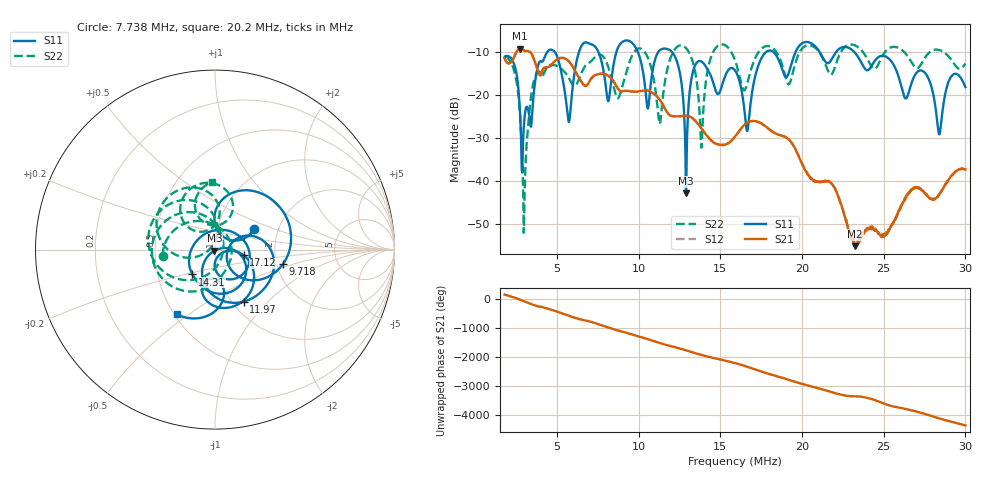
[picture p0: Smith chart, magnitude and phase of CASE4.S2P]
!Agilent Technologies,E5061B,MY49101568,A.02.00
!Date: Wed Mar 01 12:23:55 2023
!Data & Calibration Information:
!Freq	S11:SOLT2(OFF)	S21:SOLT2(OFF)	S12:SOLT2(OFF)	S22:SOLT2(OFF)
# Hz S dB R 50
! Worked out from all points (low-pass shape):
!   1155 points, 1.8 MHz to 30 MHz, reference 50 ohm
!   highest |S21| = -9.13 dB at 2.753 MHz (marker M1); lowest = -55.3 dB at 23.26 MHz (marker M2)
!   |S21| within 3 dB of the highest: 2.226 MHz to 3.644 MHz (1.417 MHz wide, 48.3 % of centre); 4.838 MHz to 5.746 MHz (908.8 kHz wide, 17.2 % of centre)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
!   lowest |S11| = -42.9 dB at 12.89 MHz (marker M3), VSWR 1.01, Z = 49.7 - j0.638 ohm
!   |S11| at or under -10 dB: start of sweep to 4.39 MHz; 12.07 MHz to 17.77 MHz (5.703 MHz wide, 38.2 % of centre); 23.22 MHz to end of sweep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
!   |S22| runs from -52.1 to -8.1 dB; largest |S21 - S12| = 0.0045
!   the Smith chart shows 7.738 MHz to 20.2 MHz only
!   S11 on the Smith chart (normalised r, x): 7.738 MHz: 1.50, +0.36; 9.718 MHz: 2.16, -0.41; 11.97 MHz: 1.12, -0.73; 14.31 MHz: 0.75, -0.21; 17.12 MHz: 1.38, -0.09; 20.2 MHz: 0.52, -0.45
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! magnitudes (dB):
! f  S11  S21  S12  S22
! 1.8 MHz  -11.1  -11.4  -11.3  -10.9
! 2.753 MHz  -24.8  -9.1  -9.1  -25.0
! 2.997 MHz  -26.2  -9.6  -9.6  -48.3
! 3.755 MHz  -14.7  -13.3  -13.4  -14.9
! 5.734 MHz  -26.3  -12.1  -12.1  -16.0
! 6.516 MHz  -8.4  -17.0  -16.9  -14.7
! 7.738 MHz  -12.2  -15.0  -14.9  -10.6
! 9.718 MHz  -8.2  -19.2  -19.2  -10.0
! 10.55 MHz  -23.1  -18.9  -18.9  -11.1
! 11.21 MHz  -9.9  -20.6  -20.7  -24.7
! 11.97 MHz  -9.6  -24.8  -24.8  -11.2
! 12.89 MHz  -42.9  -24.8  -24.8  -9.0
! 13.85 MHz  -12.1  -27.7  -27.8  -32.2
! 14.31 MHz  -14.6  -30.0  -30.1  -12.7
! 15.9 MHz  -14.2  -29.7  -29.8  -11.8
! 17.12 MHz  -15.8  -26.0  -26.1  -11.5
! 20.2 MHz  -7.6  -37.6  -37.6  -8.5
! 20.62 MHz  -8.0  -39.6  -39.6  -8.5
! 23.26 MHz  -10.1  -55.3  -54.6  -8.4
! 25.31 MHz  -11.4  -51.6  -51.5  -9.1
! 28.39 MHz  -29.1  -43.3  -43.2  -9.4
! 30 MHz  -18.1  -37.3  -37.3  -12.6
